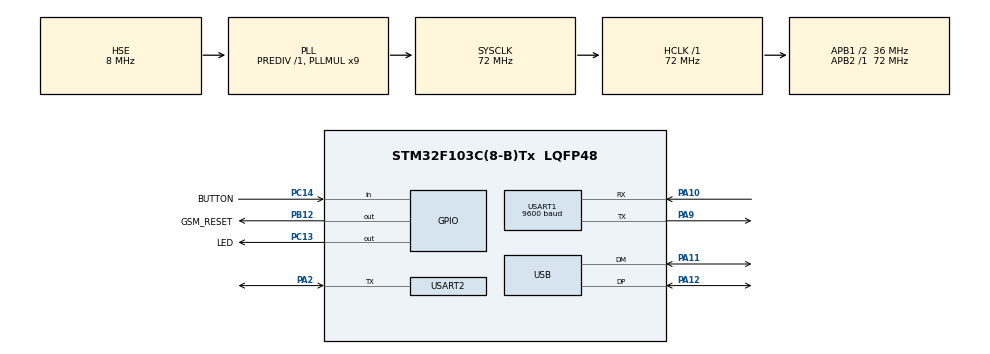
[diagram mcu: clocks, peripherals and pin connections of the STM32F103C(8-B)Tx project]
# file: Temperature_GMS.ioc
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Mcu.Family=STM32F1
Mcu.Name=STM32F103C(8-B)Tx
Mcu.Package=LQFP48
NVIC.PriorityGroup=NVIC_PRIORITYGROUP_4
NVIC.TIM3_IRQn=true\:0\:0\:false\:false\:true\:true\:true\:true
NVIC.USART1_IRQn=true\:0\:0\:false\:true\:true\:1\:true\:true\:true
NVIC.USB_LP_CAN1_RX0_IRQn=true\:0\:0\:false\:true\:true\:2\:false\:true\:true
PA10.Mode=Asynchronous
PA10.Signal=USART1_RX
PA11.Mode=Device
PA11.Signal=USB_DM
PA12.Mode=Device
PA12.Signal=USB_DP
PA2.Mode=Half_duplex(single_wire_mode)
PA2.Signal=USART2_TX
PA9.Mode=Asynchronous
PA9.Signal=USART1_TX
PB12.GPIO_Label=GSM_RESET
PB12.GPIO_ModeDefaultOutputPP=GPIO_MODE_OUTPUT_OD
PB12.GPIO_PuPd=GPIO_NOPULL
PB12.PinState=GPIO_PIN_SET
PB12.Signal=GPIO_Output
PC13-TAMPER-RTC.GPIO_Label=LED
PC13-TAMPER-RTC.Signal=GPIO_Output
PC14-OSC32_IN.GPIO_Label=BUTTON
PC14-OSC32_IN.GPIO_PuPd=GPIO_PULLUP
PC14-OSC32_IN.Signal=GPIO_Input
PD0-OSC_IN.Mode=HSE-External-Oscillator
PD0-OSC_IN.Signal=RCC_OSC_IN
PD1-OSC_OUT.Mode=HSE-External-Oscillator
PD1-OSC_OUT.Signal=RCC_OSC_OUT
ProjectManager.HeapSize=0x800
ProjectManager.StackSize=0x1000
ProjectManager.TargetToolchain=STM32CubeIDE
RCC.AHBFreq_Value=72000000
RCC.APB1CLKDivider=RCC_HCLK_DIV2
RCC.APB1Freq_Value=36000000
RCC.APB1TimFreq_Value=72000000
RCC.APB2Freq_Value=72000000
RCC.APB2TimFreq_Value=72000000
RCC.HCLKFreq_Value=72000000
RCC.PLLMUL=RCC_PLL_MUL9
RCC.PLLSourceVirtual=RCC_PLLSOURCE_HSE
RCC.SYSCLKFreq_VALUE=72000000
RCC.SYSCLKSource=RCC_SYSCLKSOURCE_PLLCLK
RCC.USBFreq_Value=48000000
RCC.USBPrescaler=RCC_USBCLKSOURCE_PLL_DIV1_5
TIM3.Prescaler=65535
USART1.BaudRate=9600
USART1.VirtualMode=VM_ASYNC
USART2.BaudRate=9600
USART2.VirtualMode=VM_ASYNC
USB_DEVICE.APP_RX_DATA_SIZE=512
USB_DEVICE.APP_TX_DATA_SIZE=512
USB_DEVICE.CLASS_NAME_FS=CDC
USB_DEVICE.MANUFACTURER_STRING=Donako
USB_DEVICE.PRODUCT_STRING_CDC_FS=GSM_Thermometer
USB_DEVICE.VirtualMode=Cdc
USB_DEVICE.VirtualModeFS=Cdc_FS
VP_IWDG_VS_IWDG.Mode=IWDG_Activate
VP_TIM3_VS_ClockSourceINT.Mode=Internal
VP_USB_DEVICE_VS_USB_DEVICE_CDC_FS.Mode=CDC_FS
board=custom

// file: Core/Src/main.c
/* USER CODE BEGIN Header */
/**
  ******************************************************************************
  * @file           : main.c
  * @brief          : Main program body
  ******************************************************************************
  * @attention
  *
  * Copyright (c) 2022 STMicroelectronics.
  * All rights reserved.
  *
  * This software is licensed under terms that can be found in the LICENSE file
  * in the root directory of this software component.
  * If no LICENSE file comes with this software, it is provided AS-IS.
  *
  ******************************************************************************
  */
/* USER CODE END Header */
#include "main.h"
#include "iwdg.h"
#include "tim.h"
#include "usart.h"
#include "usb_device.h"
#include "gpio.h"

/* USER CODE BEGIN Includes */
#include "ring_buffer.h"
#include "parser_complex.h"
#include "utils.h"
#include "stdio.h"
#include "math.h"
#include "ds18b20.h"
#include "string.h"
#include "usbd_cdc_if.h"
/* USER CODE END Includes */

/* USER CODE BEGIN PD */
#define INQUIRY_TIME 200
/* USER CODE END PD */

/* USER CODE BEGIN PV */
RingBuffer_t ReceiveBuffer;
uint8_t ReceiveTmp;
uint8_t LineCounter = 0;
uint8_t ReceivedData[255];

RingBuffer_t USBConfBuffer;
uint8_t USBReceiveTmp;
uint8_t USBLineCounter = 0;
//uint8_t USBReceivedData [255];

uint8_t Uart1isBusy = 0;
uint8_t *Uart1isBusyPtr = &Uart1isBusy;

uint32_t LastTickForSim800;
uint32_t LastTickTempMeasure;

//time variables
uint8_t year, month, day, hour, minute, second;

int32_t temperature;

const char ctrlZ = 26;

SMSUartTxState_t SMSUartTxState;
GSM_t GSM;

uint8_t timPeriodCounter = 0;
uint16_t inquiryTimeVar = INQUIRY_TIME;

char SMSMessage[SMS_SIZE];
char FTPMessageBox1[1330];
char FTPMessageBox2[1330];
uint8_t FTPMessageBoxRecordSwitch = 1;

uint8_t ds_address[DS18B20_ROM_CODE_SIZE];

//volatile uint8_t USBtoParseBuf[512];

/* USER CODE END PV */

void SystemClock_Config(void);
static void MX_NVIC_Init(void);
/* USER CODE BEGIN PFP */
void CommStateMachineTask(void);
/* USER CODE END PFP */

int main(void)
{

  /* MCU Configuration--------------------------------------------------------*/

  /* Reset of all peripherals, Initializes the Flash interface and the Systick. */
  HAL_Init();

  /* Configure the system clock */
  SystemClock_Config();

  /* Initialize all configured peripherals */
  MX_GPIO_Init();
  MX_USART1_UART_Init();
  MX_TIM3_Init();
  MX_USART2_UART_Init();
  MX_USB_DEVICE_Init();
  MX_IWDG_Init();

  /* Initialize interrupts */
  MX_NVIC_Init();
  /* USER CODE BEGIN 2 */
  HAL_UART_Receive_IT(&huart1, &ReceiveTmp, 1);
  if (ds18b20_read_address(ds_address) != HAL_OK)
    {
      Error_Handler();
    }
  /* USER CODE END 2 */

  /* Infinite loop */
  /* USER CODE BEGIN WHILE */
  SMSUartTxState = Reset;
  LastTickForSim800 = HAL_GetTick();
  LastTickTempMeasure = HAL_GetTick();

  memcpy(GSM.FlashBuff, 0x0801FC00, 128*4);

//  sprintf(GSM.ConfigFlash.server, "www.mkwk019.cba.pl");
//  sprintf(GSM.ConfigFlash.login, "hostv1@donakoemb.cba.pl");
//  sprintf(GSM.ConfigFlash.password, "FalconEye2022");
//  sprintf(GSM.ConfigFlash.path, "/czujnik/");

  ///Test zapisu do flash

//  Flash_Write_Data(0x0801FC00, GSM.FlashBuff, 128);

  HAL_TIM_Base_Start_IT(&htim3);

  while (1)
  {
	  HAL_IWDG_Refresh(&hiwdg);

	  if(HAL_GetTick() - LastTickTempMeasure >= 800)
	  {
		  static uint8_t tempMeasureFlag = 0;
		  if(!tempMeasureFlag)
		  {
			  ds18b20_start_measure(NULL);
			  tempMeasureFlag = 1;
		  }
		  else
		  {
			  temperature = ds18b20_get_temp_wo_fp(NULL);
			  tempMeasureFlag = 0;
		  }

	  }

	  if(LineCounter)
	  {
		  Parser_TakeLine(&ReceiveBuffer, ReceivedData);

		  LineCounter--;

		  Parser_parse(ReceivedData);
	  }

	  if(USBLineCounter)
	  {
		  Parser_TakeLine(&USBConfBuffer, ReceivedData);

		  USBLineCounter--;

		  Parser_parse(ReceivedData);
	  }

	  HAL_GPIO_WritePin(LED_GPIO_Port, LED_Pin, GSM.ReceivedState);

	  CommStateMachineTask();

	  if(GSM.ErrorCounter > 10)
	  {
		  SMSUartTxState = Reset;
		  GSM.ErrorCounter = 0;
	  }

	  if(SMSUartTxState != Idle && HAL_GetTick() - GSM.LastTickReceive >= 30000)
	  {
		  SMSUartTxState = Reset;
		  GSM.LastTickReceive = HAL_GetTick();
	  }

	  if(!HAL_GPIO_ReadPin(BUTTON_GPIO_Port, BUTTON_Pin))
	  {
		  sprintf(SMSMessage, "%.1f\n%d\n%s\n%s\n%s", GSM.SignalQuality, GSM.ErrorCounter, GSM.ConfigFlash.apn, GSM.ConfigFlash.path, GSM.ConfigFlash.server);
		  strcpy(GSM.SMSNumber, GSM.ConfigFlash.number1);
		  GSM.TaskToDo.SmsMsgToSend = 1;
	  }

	  if(GSM.CRegStat == 2)
		  SMSUartTxState = Start;

    /* USER CODE END WHILE */

  }
}

void SystemClock_Config(void)
{
  RCC_OscInitTypeDef RCC_OscInitStruct = {0};
  RCC_ClkInitTypeDef RCC_ClkInitStruct = {0};
  RCC_PeriphCLKInitTypeDef PeriphClkInit = {0};

  /** Initializes the RCC Oscillators according to the specified parameters
  * in the RCC_OscInitTypeDef structure.
  */
  RCC_OscInitStruct.OscillatorType = RCC_OSCILLATORTYPE_LSI|RCC_OSCILLATORTYPE_HSE;
  RCC_OscInitStruct.HSEState = RCC_HSE_ON;
  RCC_OscInitStruct.HSEPredivValue = RCC_HSE_PREDIV_DIV1;
  RCC_OscInitStruct.HSIState = RCC_HSI_ON;
  RCC_OscInitStruct.LSIState = RCC_LSI_ON;
  RCC_OscInitStruct.PLL.PLLState = RCC_PLL_ON;
  RCC_OscInitStruct.PLL.PLLSource = RCC_PLLSOURCE_HSE;
  RCC_OscInitStruct.PLL.PLLMUL = RCC_PLL_MUL9;
  if (HAL_RCC_OscConfig(&RCC_OscInitStruct) != HAL_OK)
  {
    Error_Handler();
  }

  /** Initializes the CPU, AHB and APB buses clocks
  */
  RCC_ClkInitStruct.ClockType = RCC_CLOCKTYPE_HCLK|RCC_CLOCKTYPE_SYSCLK
                              |RCC_CLOCKTYPE_PCLK1|RCC_CLOCKTYPE_PCLK2;
  RCC_ClkInitStruct.SYSCLKSource = RCC_SYSCLKSOURCE_PLLCLK;
  RCC_ClkInitStruct.AHBCLKDivider = RCC_SYSCLK_DIV1;
  RCC_ClkInitStruct.APB1CLKDivider = RCC_HCLK_DIV2;
  RCC_ClkInitStruct.APB2CLKDivider = RCC_HCLK_DIV1;

  if (HAL_RCC_ClockConfig(&RCC_ClkInitStruct, FLASH_LATENCY_2) != HAL_OK)
  {
    Error_Handler();
  }
  PeriphClkInit.PeriphClockSelection = RCC_PERIPHCLK_USB;
  PeriphClkInit.UsbClockSelection = RCC_USBCLKSOURCE_PLL_DIV1_5;
  if (HAL_RCCEx_PeriphCLKConfig(&PeriphClkInit) != HAL_OK)
  {
    Error_Handler();
  }
}

/**
  * @brief NVIC Configuration.
  * @retval None
  */
static void MX_NVIC_Init(void)
{
  /* USART1_IRQn interrupt configuration */
  HAL_NVIC_SetPriority(USART1_IRQn, 0, 0);
  HAL_NVIC_EnableIRQ(USART1_IRQn);
  /* USB_LP_CAN1_RX0_IRQn interrupt configuration */
  HAL_NVIC_SetPriority(USB_LP_CAN1_RX0_IRQn, 0, 0);
  HAL_NVIC_EnableIRQ(USB_LP_CAN1_RX0_IRQn);
}

/* USER CODE BEGIN 4 */
void HAL_UART_RxCpltCallback(UART_HandleTypeDef *huart)
{
	if(huart->Instance == USART1)
	{
		GSM.LastTickReceive = HAL_GetTick();
		if(ReceiveTmp != 0xd)
		{
			if (RB_OK == Ring_Buffer_Write(&ReceiveBuffer, ReceiveTmp))
			{
				if(ReceiveTmp == ENDLINE)
				{
					LineCounter++;
				}
			}
		}
		HAL_UART_Receive_IT(&huart1, &ReceiveTmp, 1);
	}

}

void HAL_UART_TxCpltCallback(UART_HandleTypeDef *huart)
{
	*Uart1isBusyPtr = 0;
}

void HAL_TIM_PeriodElapsedCallback(TIM_HandleTypeDef *htim)
{
	if(htim->Instance == TIM3)
	{   //Period elapsed 128,57s
		timPeriodCounter++;
		char OneSample[32];
		char TemperatureString[7];
		Temperature100ToString(temperature, TemperatureString);
		sprintf(OneSample, "%.2u/%.2u/%.2u,%.2u:%.2u:%.2u,%s\n", year, month, day, hour, minute, second, TemperatureString);
		if(FTPMessageBoxRecordSwitch == 1)
		{
			strcat(FTPMessageBox1, OneSample);
		}
		else if(FTPMessageBoxRecordSwitch == 2)
		{
			strcat(FTPMessageBox2, OneSample);
		}

		if(timPeriodCounter == 40)
		{
//			SMSUartTxState = FTPMsgWrite;
			GSM.TaskToDo.FtpMsgToSend = 1;

			if(FTPMessageBoxRecordSwitch == 1)
			{
				FTPMessageBox2[0] = '\0';
				FTPMessageBoxRecordSwitch = 2;
			}
			else if(FTPMessageBoxRecordSwitch == 2)
			{
				FTPMessageBox1[0] = '\0';
				FTPMessageBoxRecordSwitch = 1;
			}

			timPeriodCounter = 0;
		}
	}
}

void CommStateMachineTask(void)
{
	  if(Uart1isBusy == 0 && HAL_GetTick() - LastTickForSim800 >= inquiryTimeVar)
	  	{LastTickForSim800 = HAL_GetTick();
	  		if(SMSUartTxState == Control)
	  		{
	  			static uint8_t TaskState = 0;

	  			switch(TaskState)
	  			{
	  			case 0:
	  				UartSend("AT+CSQ\r\n");
	  				TaskState = 1;
	  				break;
	  			case 1:
	  				UartSend("AT+CREG?\r\n");
	  				TaskState = 2;
	  				break;
	  			case 2:
	  				UartSend("AT+CMGDA=\"DEL READ\"\r\n");
	  				TaskState = 3;
	  				break;
	  			case 3:
	  				 UartSend("AT+CMGL=\"REC UNREAD\",0\r\n");
	  				 TaskState = 4;
	  				 break;
	  			case 4:
	  				UartSend("AT+CCLK?\r\n");
	  				TaskState = 0;
	  				if(!GSM.TaskToDo.FtpMsgToSend && !GSM.TaskToDo.SmsMsgToSend)
	  				{
	  					SMSUartTxState = Control;
	  				}
	  				else if(GSM.TaskToDo.FtpMsgToSend)
	  				{
	  					SMSUartTxState = FTPMsgWrite;
	  				}
	  				else if(GSM.TaskToDo.SmsMsgToSend && !GSM.TaskToDo.FtpMsgToSend)
	  				{
	  					SMSUartTxState = SMSMsgWrite;
	  				}

	  				break;
	  			}
	  		}
	  		else if(SMSUartTxState == Reset)
	  		{
	  			static uint8_t TaskState = 0;
	  			switch(TaskState)
	  			{
	  			case 0:
	  				inquiryTimeVar = 500;
	  				HAL_GPIO_WritePin(GSM_RESET_GPIO_Port, GSM_RESET_Pin, RESET);
	  				TaskState = 1;
	  				break;
	  			case 1:
	  				inquiryTimeVar = 5000;
	  				HAL_GPIO_WritePin(GSM_RESET_GPIO_Port, GSM_RESET_Pin, SET);
	  				TaskState = 2;
	  				break;
	  			case 2:
	  				inquiryTimeVar = INQUIRY_TIME;
	  				TaskState = 0;
	  				SMSUartTxState = Config;
	  				break;
	  			}
	  		}
	  		else if(SMSUartTxState == Start)
	  		{
	  			inquiryTimeVar = 2000;
	  			static uint8_t TaskState = 0;
	  			switch(TaskState)
	  			{
	  			case 0:
	  				UartSend("AT+CREG?\r\n");
	  				TaskState = 1;
	  				break;
	  			case 1:
	  				if(GSM.CRegStat == 1)
	  				{
	  					inquiryTimeVar = INQUIRY_TIME;
	  					TaskState = 0;
	  					SMSUartTxState = Control;
	  					GSM.ResetCounter++;
	  				}
	  				else
	  				{
	  					TaskState = 0;
	  				}
	  				break;
//	  			case 2:
//	  				UartSend("AT+CMGDA=\"DEL ALL\"\r\n");
//	  				TaskState = 0;
//	  				break;
	  			}
	  		}
	  		else if(SMSUartTxState == SMSMsgWrite)
	  		{
	  			static uint8_t TaskState = 0;
	  			static char ATcmdSMS[128];
	  			switch(TaskState)
	  			{
	  			case 0:
	  				sprintf(ATcmdSMS, "AT+CMGS=\"%s\"\r\n", GSM.SMSNumber);
//	  				UartSendWoRxCtrl("AT+CMGS=\"+48885447216\"\r\n");
	  				UartSendWoRxCtrl(ATcmdSMS);
	  				inquiryTimeVar = 2000;
	  				TaskState = 1;
	  				break;
	  			case 1:
	  				HAL_UART_Transmit_IT(&huart1, (uint8_t*) SMSMessage, strlen(SMSMessage));
	  				*Uart1isBusyPtr = 1;
	  				TaskState = 2;
	  				break;
	  			case 2:
	  				HAL_UART_Transmit_IT(&huart1, (uint8_t*) &ctrlZ, 1);
	  				*Uart1isBusyPtr = 1;
	  				TaskState = 3;
	  				break;
	  			case 3:
	  				inquiryTimeVar = INQUIRY_TIME;
	  				TaskState = 0;
	  				GSM.TaskToDo.SmsMsgToSend = 0;
	  				SMSUartTxState = Control;
	  				break;
	  			}
	  		}
	  		else if(SMSUartTxState == Config)
	  		{
	  			static uint8_t TaskState = 0;
	  			switch(TaskState)
	  			{
	  			case 0:
	  				UartSend("ATE0\r\n");
	  				TaskState = 1;
	  				break;
	  			case 1:
	  				UartSend("AT+CMGF=1\r\n");
	  				TaskState = 2;
	  				break;
	  			case 2:
	  				UartSend("AT+CLTS=1\r\n");
	  				TaskState = 3;
	  				break;
	  			case 3:
	  				UartSend("AT+CNMI=0,0,0,0,0\r\n");
	  				TaskState = 4;
	  				break;
	  			case 4:
	  				UartSend("AT+CIURC=0\r\n");
	  				TaskState = 5;
	  				break;
	  			case 5:
	  				UartSend("AT&W\r\n");
	  				TaskState = 0;
	  				SMSUartTxState = Start;
	  				break;
	  			}
	  		}
	  		else if(SMSUartTxState == FTPMsgWrite)
	  		{
	  			static uint8_t TaskState = 0;
				uint16_t MsgLen;
				static char ATcmdFtp[128];
	  			inquiryTimeVar = INQUIRY_TIME;
	  			switch(TaskState)
	  			{
	  			case 0:
	  				UartSend("AT+SAPBR=3,1,\"Contype\",\"GPRS\"\r\n");
	  				TaskState = 1;
	  				break;
	  			case 1:
	  				sprintf(ATcmdFtp, "AT+SAPBR=3,1,\"APN\",\"%s\"\r\n", GSM.ConfigFlash.apn);
//	  				UartSend("AT+SAPBR=3,1,\"APN\",\"plus\"\r\n");
					UartSend(ATcmdFtp);
	  				TaskState = 2;
	  				break;
	  			case 2:
	  				UartSend("AT+SAPBR=1,1\r\n");
	  				inquiryTimeVar = 5000;
	  				TaskState = 3;
	  				break;
	  			case 3:
	  				if(GSM.ReceivedState == 1)
	  				{
	  					TaskState = 4;
	  				}
	  				else
	  				{
	  					TaskState = 0;
	  					UartSend("AT+SAPBR=0,1\r\n");

	  				}
	  				break;
	  			case 4:
	  				UartSend("AT+SAPBR=2,1\r\n");
	  				inquiryTimeVar = INQUIRY_TIME;
	  				TaskState = 5;
	  				break;
	  			case 5:
	  				UartSend("AT+FTPCID=1\r\n");
	  				TaskState = 6;
	  				break;
	  			case 6:
	  				sprintf(ATcmdFtp, "AT+FTPSERV=\"%s\"\r\n", GSM.ConfigFlash.server);
	  				UartSend(ATcmdFtp);
	  				TaskState = 7;
	  				break;
	  			case 7:
	  				sprintf(ATcmdFtp, "AT+FTPUN=\"%s\"\r\n", GSM.ConfigFlash.login);
	  				UartSend(ATcmdFtp);
	  				TaskState = 8;
	  				break;
	  			case 8:
	  				sprintf(ATcmdFtp, "AT+FTPPW=\"%s\"\r\n", GSM.ConfigFlash.password);
	  				UartSend(ATcmdFtp);
	  				TaskState = 9;
	  				break;
	  			case 9:
	  				sprintf(ATcmdFtp, "AT+FTPPUTNAME=\"Termo%s%.2u%.2u%.2u%.2u%.2u%.2u.txt\"\r\n",GSM.ConfigFlash.deviceNumber, year, month, day, hour, minute, second);
	  				UartSend(ATcmdFtp);
	  				TaskState = 10;
	  				break;
	  			case 10:
	  				sprintf(ATcmdFtp, "AT+FTPPUTPATH=\"%s\"\r\n", GSM.ConfigFlash.path);
	  				UartSend(ATcmdFtp);
	  				TaskState = 11;
	  				break;
	  			case 11:
	  				UartSend("AT+FTPPUT=1\r\n");
	  				inquiryTimeVar = 5000;
	  				TaskState = 12;
	  				break;
	  			case 12:
	  				if(GSM.FtpPut.status != 1)
	  				{
	  					TaskState = 0;
	  					break;
	  				}
	  				if(FTPMessageBoxRecordSwitch == 2)
	  				{
	  					MsgLen = strlen(FTPMessageBox1);
	  				}
	  				else if(FTPMessageBoxRecordSwitch == 1)
	  				{
	  					MsgLen = strlen(FTPMessageBox2);
	  				}
	  				sprintf(ATcmdFtp,"AT+FTPPUT=2,%u\r\n", MsgLen);
	  				UartSendWoRxCtrl(ATcmdFtp);
					TaskState = 13;
					break;
	  			case 13:
	  				if(FTPMessageBoxRecordSwitch == 2)
	  				{
	  					UartSendWoRxCtrl(FTPMessageBox1);
	  				}
	  				else if(FTPMessageBoxRecordSwitch == 1)
	  				{
	  					UartSendWoRxCtrl(FTPMessageBox2);
	  				}
	  				TaskState = 14;
	  				break;
	  			case 14:
	  				UartSend("AT+FTPPUT=2,0\r\n");
	  				TaskState = 15;
	  				break;
	  			case 15:
	  				UartSend("AT+SAPBR=0,1\r\n");
	  				TaskState = 0;
	  				GSM.TaskToDo.FtpMsgToSend = 0;
	  				SMSUartTxState = Control;
	  				inquiryTimeVar = INQUIRY_TIME;
	  				break;

	  			}

	  		}
	  	}
}

void CDC_ReveiveCallback(uint8_t *Buffer, uint8_t Length)
{
	if(Length > 0)
		{
			volatile uint8_t i = 0;
			while(i < Length)
			{
				if(Buffer[i] != '\r')
				{
					if (RB_OK == Ring_Buffer_Write(&USBConfBuffer, Buffer[i]))
					{
						if(Buffer[i] == ENDLINE)
						{
							USBLineCounter++;
						}
						i++;
					}
				}
				else i++;
			}
		}

}
/* USER CODE END 4 */

void Error_Handler(void)
{
  __disable_irq();
  while (1)
  {
  }
}
